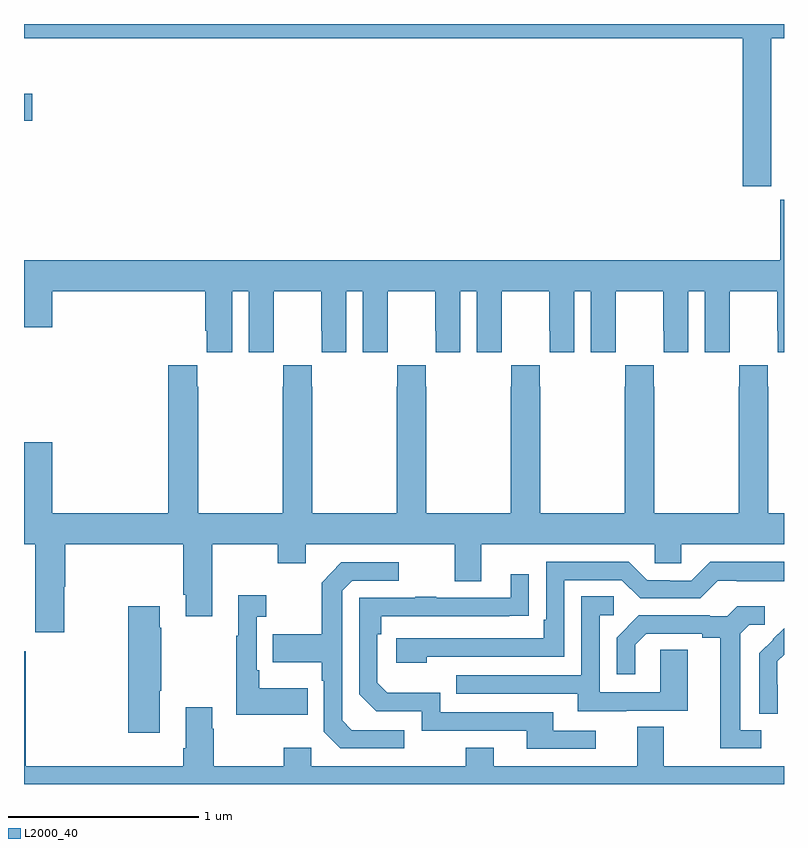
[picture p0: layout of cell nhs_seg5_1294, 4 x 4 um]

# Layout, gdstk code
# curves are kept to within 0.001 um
import gdstk
lib = gdstk.Library(unit=1e-6, precision=1e-09)
def R(c, l, rs):  # rectangles x0, y0, x1, y1
    for r in rs: c.add(gdstk.rectangle(r[:2], r[2:], *l))
def P(c, l, *ps):  # polygons
    for p in ps: c.add(gdstk.Polygon(p, *l))
L2000_40 = (2000, 40)

nhs_seg5_1294 = lib.new_cell('nhs_seg5_1294')
R(nhs_seg5_1294, L2000_40, [(189,892.289,189.043,892.431)])
P(nhs_seg5_1294, L2000_40, [(189,892.724),(192.782,892.724),(192.782,891.945),(192.934,891.945),(192.934,892.724),(193,892.724),(193,892.799),(189,892.799)],
  [(190.096,891.392),(190.184,891.392),(190.184,891.072),(190.314,891.072),(190.314,891.184),(190.315,891.184),(190.315,891.392),(190.565,891.392),(190.565,891.184),(190.566,891.184),(190.566,891.072),(190.696,891.072),(190.696,891.392),(190.784,891.392),(190.784,891.072),(190.914,891.072),(190.914,891.184),(190.915,891.184),(190.915,891.392),(191.165,891.392),(191.165,891.184),(191.166,891.184),(191.166,891.072),(191.296,891.072),(191.296,891.392),(191.384,891.392),(191.384,891.072),(191.514,891.072),(191.514,891.184),(191.515,891.184),(191.515,891.392),(191.765,891.392),(191.765,891.184),(191.766,891.184),(191.766,891.072),(191.896,891.072),(191.896,891.392),(191.984,891.392),(191.984,891.072),(192.114,891.072),(192.114,891.184),(192.115,891.184),(192.115,891.392),(192.365,891.392),(192.365,891.184),(192.366,891.184),(192.366,891.072),(192.496,891.072),(192.496,891.392),(192.584,891.392),(192.584,891.072),(192.714,891.072),(192.714,891.184),(192.715,891.184),(192.715,891.392),(192.965,891.392),(192.965,891.184),(192.966,891.184),(192.966,891.072),(193,891.072),(193,891.873),(192.98,891.873),(192.98,891.556),(189,891.556),(189,891.204),(189.148,891.204),(189.148,891.392),(189.953,891.392),(189.953,891.184),(189.962,891.184),(189.962,891.072),(190.096,891.072)],
  [(189.213,889.838),(189.218,889.838),(189.218,890.06),(189.839,890.06),(189.839,889.795),(189.851,889.795),(189.851,889.683),(189.991,889.683),(189.991,890.06),(190.336,890.06),(190.336,889.961),(190.483,889.961),(190.483,890.06),(191.267,890.06),(191.267,889.866),(191.407,889.866),(191.407,890.06),(192.321,890.06),(192.321,889.962),(192.459,889.962),(192.459,890.06),(193,890.06),(193,890.224),(192.918,890.224),(192.918,890.891),(192.915,890.891),(192.915,891.004),(192.765,891.004),(192.765,890.891),(192.763,890.891),(192.763,890.224),(192.318,890.224),(192.318,890.891),(192.315,890.891),(192.315,891.004),(192.165,891.004),(192.165,890.891),(192.163,890.891),(192.163,890.224),(191.718,890.224),(191.718,890.891),(191.715,890.891),(191.715,891.004),(191.565,891.004),(191.565,890.891),(191.563,890.891),(191.563,890.224),(191.118,890.224),(191.118,890.891),(191.115,890.891),(191.115,891.004),(190.965,891.004),(190.965,890.891),(190.963,890.891),(190.963,890.224),(190.518,890.224),(190.518,890.891),(190.515,890.891),(190.515,891.004),(190.365,891.004),(190.365,890.891),(190.363,890.891),(190.363,890.224),(189.918,890.224),(189.918,890.891),(189.911,890.891),(189.911,891.004),(189.758,891.004),(189.758,890.224),(189.148,890.224),(189.148,890.599),(189,890.599),(189,890.06),(189.058,890.06),(189.058,889.599),(189.213,889.599)],
  [(191.12,889.47),(191.844,889.47),(191.844,889.872),(192.147,889.872),(192.243,889.776),(192.558,889.776),(192.651,889.869),(192.751,889.869),(192.751,889.865),(193,889.865),(193,889.969),(192.613,889.969),(192.513,889.869),(192.398,889.869),(192.398,889.872),(192.279,889.872),(192.183,889.968),(191.748,889.968),(191.748,889.663),(191.735,889.663),(191.735,889.566),(190.959,889.566),(190.959,889.436),(191.12,889.436)],
  [(191.002,889.083),(190.725,889.083),(190.674,889.134),(190.674,889.815),(190.728,889.869),(190.972,889.869),(190.972,889.965),(190.671,889.965),(190.566,889.859),(190.566,889.587),(190.309,889.587),(190.309,889.439),(190.566,889.439),(190.566,889.343),(190.578,889.343),(190.578,889.074),(190.665,888.987),(191.002,888.987)],
  [(192.01,889.08),(191.785,889.08),(191.785,889.176),(191.19,889.176),(191.19,889.279),(190.913,889.279),(190.86,889.332),(190.86,889.586),(190.88,889.586),(190.88,889.683),(191.657,889.684),(191.657,889.903),(191.561,889.903),(191.561,889.779),(191.171,889.779),(191.171,889.784),(191.059,889.784),(191.059,889.779),(190.764,889.779),(190.764,889.272),(190.854,889.182),(191.094,889.182),(191.094,889.08),(191.645,889.08),(191.645,888.984),(192.01,888.984)],
  [(190.493,889.303),(190.237,889.303),(190.237,889.399),(190.224,889.399),(190.224,889.679),(190.276,889.679),(190.276,889.792),(190.127,889.792),(190.127,889.579),(190.116,889.579),(190.116,889.163),(190.493,889.163)],
  [(192.169,889.185),(192.493,889.185),(192.493,889.505),(192.348,889.505),(192.348,889.281),(192.03,889.281),(192.03,889.686),(192.103,889.686),(192.103,889.787),(191.934,889.787),(191.934,889.371),(191.275,889.371),(191.275,889.275),(191.915,889.275),(191.915,889.181),(192.169,889.181)],
  [(189.715,889.291),(189.723,889.291),(189.723,889.622),(189.715,889.622),(189.715,889.735),(189.548,889.735),(189.548,889.068),(189.715,889.068)],
  [(192.88,889.083),(192.769,889.083),(192.769,889.591),(192.816,889.638),(192.898,889.638),(192.898,889.735),(192.754,889.735),(192.702,889.683),(192.608,889.683),(192.608,889.686),(192.236,889.686),(192.12,889.57),(192.12,889.377),(192.217,889.377),(192.217,889.533),(192.274,889.59),(192.569,889.59),(192.569,889.568),(192.665,889.568),(192.665,888.987),(192.88,888.987)],
  [(192.966,889.322),(192.965,889.322),(192.965,889.445),(193,889.48),(193,889.618),(192.942,889.56),(192.943,889.559),(192.87,889.486),(192.87,889.168),(192.966,889.168)],
  [(193,888.892),(192.367,888.892),(192.367,889.1),(192.227,889.1),(192.227,888.892),(191.473,888.892),(191.473,888.991),(191.326,888.991),(191.326,888.892),(190.512,888.892),(190.512,888.991),(190.366,888.991),(190.366,888.892),(189.999,888.892),(189.999,889.091),(189.991,889.091),(189.991,889.204),(189.851,889.204),(189.851,888.988),(189.839,888.988),(189.839,888.892),(189.01,888.892),(189.01,889.498),(189,889.498),(189,888.799),(193,888.799)])

lib.write_gds('nhs_seg5_1294.gds')
